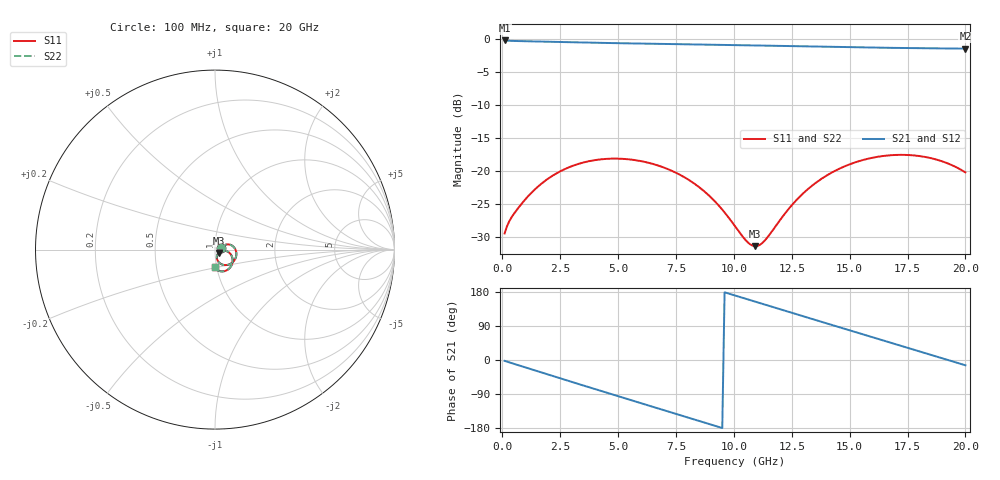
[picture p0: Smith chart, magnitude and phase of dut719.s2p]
! Touchstone file exported from HFSS 2026.1.0
!  File:  C:/ffzhzh/LocalFiles/Ansys_Project_Files/temp_train_TSV_RDL_719_1783201321_18472.aedt
!  Generated:  05:54:59 AM Jul  5, 2026
!  Design:  TSV_RDL
!  Project:  temp_train_TSV_RDL_719_1783201321_18472
! Variables:
!  h_bsmrdl = 3.63um
!  h_ox = 20um
!  h_rdl = 5um
!  h_sub = 86.29um
!  h_tmrdl = 5.93um
!  h_tsv = 86.29um
!  h_via = 3um
!  l_bsmrdl = 845.25um
!  l_sub = 6306.93um
!  l_tmrdl = 808.43um
!  m_sub = 200um
!  pitch = 28.21um
!  r_tsv = 2.23um
!  s_tmrdl = 10um
!  w_bsmrdl = 22.74um
!  w_sub = 500um
!  w_tmrdl = 23.08um
!  x_tsv_center1 = 819.97um
!  x_tsv_center2 = 1687.96um
!  x_tsv_center3 = 2519.47um
!  x_tsv_center4 = 3387.46um
!  x_tsv_center5 = 4218.97um
!  x_tsv_center6 = 5086.96um
# GHz S MA R 50.000000
! Terminal data exported
! Port[1] = TM_RDL1_1_T1
! Port[2] = TM_RDL5_1_T1
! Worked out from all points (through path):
!   200 points, 100 MHz to 20 GHz, reference 50 ohm
!   highest |S21| = -0.29 dB at 100 MHz (marker M1); lowest = -1.5 dB at 20 GHz (marker M2)
!   group delay of S21, straight-line fit = 51.8 ps
!   lowest |S11| = -31.3 dB at 10.9 GHz (marker M3), VSWR 1.06, Z = 52 - j1.95 ohm
!   |S11| at or under -10 dB: start of sweep to end of sweep
!   |S22| runs from -31.4 to -17.6 dB; largest |S21 - S12| = 8e-14
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0.1  0.03381 11.7  0.9671 -2.2  0.9671 -2.2  0.03381 11.7
! Gamma 0 0 0 0
! Port Impedance 50 0 50 0
0.5  0.04748 22.0  0.9586 -10.1  0.9586 -10.1  0.04748 22.0
1.5  0.07521 22.8  0.9505 -29.3  0.9505 -29.3  0.07523 22.8
2.5  0.09945 12.1  0.9419 -48.4  0.9419 -48.4  0.09949 12.0
3.5  0.116 -2.2  0.9334 -67.3  0.9334 -67.3  0.116 -2.3
4.3  0.1228 -14.4  0.9272 -82.3  0.9272 -82.3  0.1228 -14.5
5.1  0.1239 -26.7  0.9216 -97.3  0.9216 -97.3  0.1239 -26.8
5.9  0.1196 -38.8  0.9165 -112.3  0.9165 -112.3  0.1197 -38.9
6.8  0.109 -51.8  0.9112 -129.1  0.9112 -129.1  0.1091 -52.0
7.7  0.09316 -63.7  0.9061 -145.9  0.9061 -145.9  0.09324 -63.9
8.5  0.0756 -72.4  0.9015 -160.9  0.9015 -160.9  0.07565 -72.8
9.3  0.0561 -77.4  0.8968 -175.8  0.8968 -175.8  0.05608 -77.8
10.1  0.03728 -72.5  0.892 169.3  0.892 169.3  0.03714 -73.0
10.9  0.0271 -43.8  0.8869 154.3  0.8869 154.3  0.02678 -44.2
11.3  0.02943 -25.1  0.8843 146.9  0.8843 146.9  0.0291 -25.1
12.2  0.04761 -6.9  0.8783 130.2  0.8783 130.2  0.04739 -6.8
13.4  0.0781 -11.1  0.8703 107.9  0.8703 107.9  0.07799 -11.1
14.2  0.09674 -19.3  0.8651 93.1  0.8651 93.1  0.09668 -19.3
15  0.1123 -29.0  0.8602 78.3  0.8602 78.3  0.1123 -29.1
16.7  0.1313 -51.4  0.851 47.0  0.851 47.0  0.1313 -51.6
18.4  0.1263 -73.7  0.8441 15.7  0.8441 15.7  0.1263 -74.0
20  0.0977 -90.7  0.8392 -13.9  0.8392 -13.9  0.09753 -91.2
